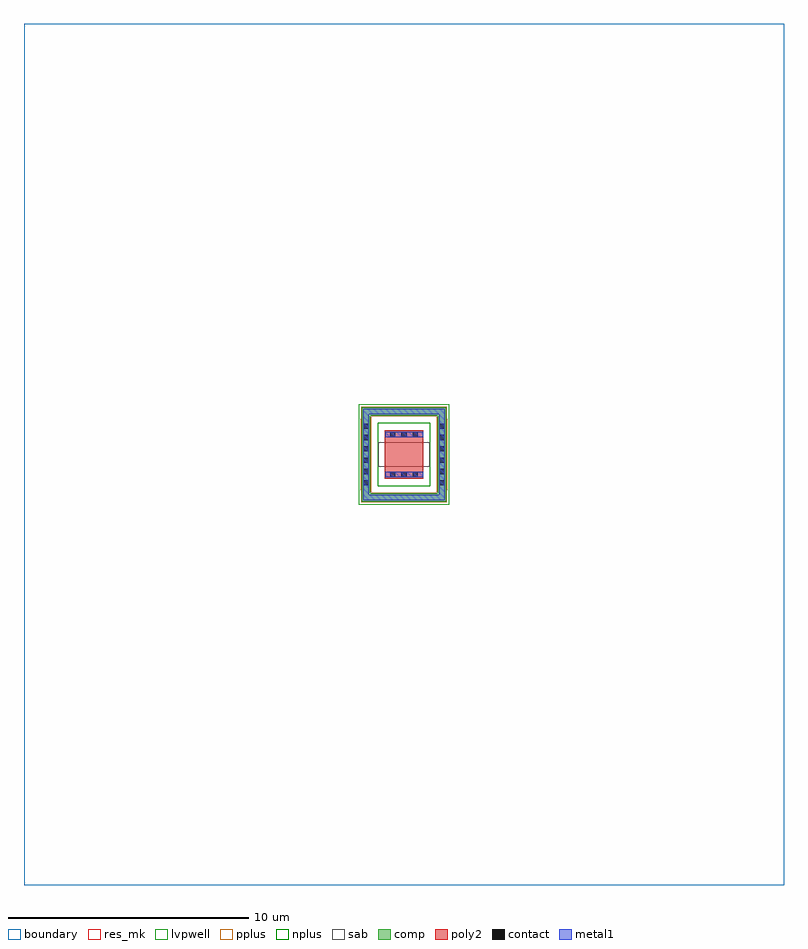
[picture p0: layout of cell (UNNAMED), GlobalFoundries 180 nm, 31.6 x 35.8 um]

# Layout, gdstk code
import gdstk
lib = gdstk.Library(unit=1e-6, precision=1e-09)
def R(c, l, rs):  # rectangles x0, y0, x1, y1
    for r in rs: c.add(gdstk.rectangle(r[:2], r[2:], *l))
def A(c, l, x, y, w, h, nx, ny, dx, dy):  # array of equal rectangles
    R(c, l, [(x+i*dx, y+j*dy, x+i*dx+w, y+j*dy+h) for i in range(nx) for j in range(ny)])
boundary = (0, 0)
comp = (22, 0)
poly2 = (30, 0)
pplus = (31, 0)
nplus = (32, 0)
contact = (33, 0)
metal1 = (34, 0)
sab = (49, 0)
res_mk = (110, 5)
lvpwell = (204, 0)

c__unnamed_ = lib.new_cell('(UNNAMED)')
R(c__unnamed_, boundary, [(-15.8,-17.9,15.8,17.9)])
R(c__unnamed_, comp, [(-1.76,-1.97,1.76,-1.61), (-1.76,-1.61,-1.4,1.61), (1.4,-1.61,1.76,1.61), (-1.76,1.61,1.76,1.97)])
R(c__unnamed_, poly2, [(-0.8,-1.01,0.8,1.01)])
R(c__unnamed_, pplus, [(-1.78,-1.99,1.78,-1.59), (-1.78,-1.59,-1.37,-1.485), (1.37,-1.59,1.78,-1.485), (-1.79,-1.485,-1.37,1.485), (1.37,-1.485,1.79,1.485), (-1.78,1.485,-1.37,1.59), (1.37,1.485,1.78,1.59), (-1.78,1.59,1.78,1.99)])
R(c__unnamed_, nplus, [(-1.1,-1.31,1.1,1.31)])
A(c__unnamed_, contact, -1.69, -1.285, 0.22, 0.22, 1, 6, 0, 0.47)
A(c__unnamed_, contact, 1.47, -1.285, 0.22, 0.22, 1, 6, 0, 0.47)
A(c__unnamed_, contact, -0.58, -0.94, 0.22, 0.22, 3, 2, 0.47, 1.66)
R(c__unnamed_, metal1, [(-1.695,-1.905,1.695,-1.675), (-1.695,-1.675,-1.465,1.675), (1.465,-1.675,1.695,1.675), (-0.79,-0.945,0.79,-0.715), (-0.79,0.715,0.79,0.945), (-1.695,1.675,1.695,1.905)])
R(c__unnamed_, sab, [(-1.08,-0.5,1.08,0.5)])
R(c__unnamed_, res_mk, [(-0.8,-0.5,0.8,0.5)])
R(c__unnamed_, lvpwell, [(-1.88,-2.09,1.88,2.09)])

lib.write_gds('_UNNAMED_.gds')
